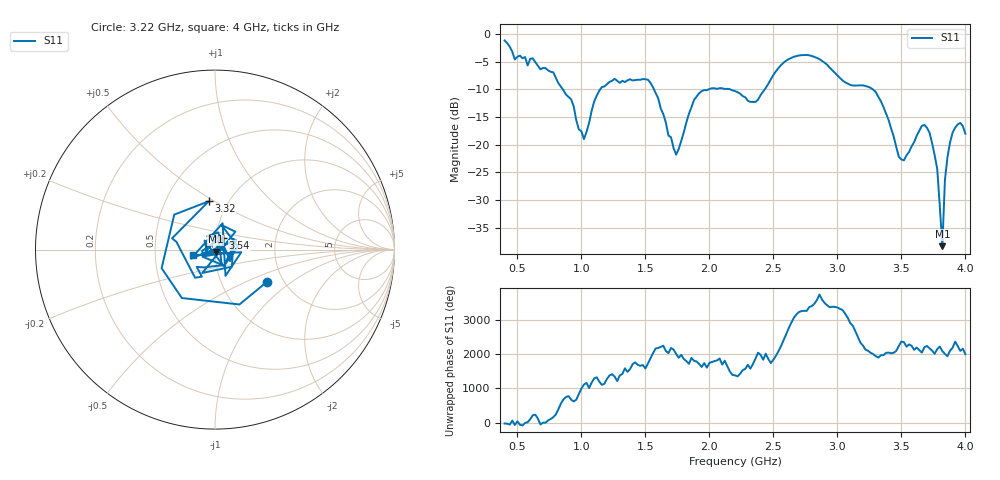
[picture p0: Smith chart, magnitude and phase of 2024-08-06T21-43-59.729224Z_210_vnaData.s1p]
!Created with skrf (http://scikit-rf.org).
# Hz S RI R 50.0
!freq ReS11 ImS11
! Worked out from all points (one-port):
!   181 points, 400 MHz to 4 GHz, reference 50 ohm
!   lowest |S11| = -38.4 dB at 3.82 GHz (marker M1), VSWR 1.02, Z = 50.4 - j1.16 ohm
!   |S11| at or under -10 dB: 855.4 MHz to 1.146 GHz (290.7 MHz wide, 29.1 % of centre); 1.567 GHz to 1.992 GHz (425.2 MHz wide, 23.9 % of centre); 3.278 GHz to end of sweep (the widest 3 of 4)
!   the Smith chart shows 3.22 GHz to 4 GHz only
!   S11 on the Smith chart (normalised r, x): 3.22 GHz: 1.63, -0.67; 3.32 GHz: 0.81, +0.47; 3.54 GHz: 1.08, +0.14; 4 GHz: 0.78, -0.05
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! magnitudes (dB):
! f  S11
! 400 MHz  -1.1
! 480 MHz  -4.6
! 860 MHz  -10.1
! 1.02 GHz  -19.0
! 1.14 GHz  -10.2
! 1.3 GHz  -8.8
! 1.52 GHz  -8.2
! 1.74 GHz  -21.8
! 1.76 GHz  -20.8
! 1.92 GHz  -10.7
! 2.2 GHz  -10.3
! 2.36 GHz  -12.2
! 2.66 GHz  -4.1
! 2.86 GHz  -4.5
! 3.1 GHz  -9.2
! 3.22 GHz  -9.4
! 3.32 GHz  -11.3
! 3.48 GHz  -22.2
! 3.54 GHz  -21.9
! 3.56 GHz  -21.3
! 3.66 GHz  -16.6
! 3.72 GHz  -17.8
! 3.78 GHz  -24.4
! 3.82 GHz  -38.4
! 3.84 GHz  -26.4
! 3.88 GHz  -19.6
! 3.96 GHz  -16.0
! 4 GHz  -18.0
